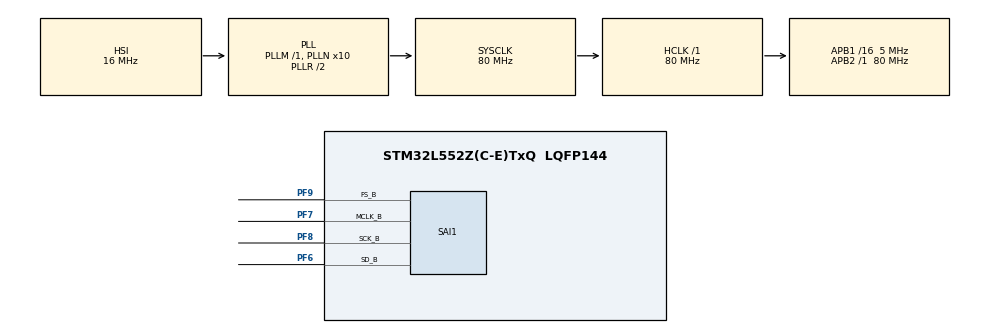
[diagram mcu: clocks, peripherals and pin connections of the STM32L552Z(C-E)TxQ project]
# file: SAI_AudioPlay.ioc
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Dma.Request0=SAI1_B
Dma.SAI1_B.0.Channel_PRIV_NPRIV=DMA_CHANNEL_NPRIV_DISABLE
Dma.SAI1_B.0.Direction=DMA_MEMORY_TO_PERIPH
Dma.SAI1_B.0.EventEnable=DISABLE
Dma.SAI1_B.0.Instance=DMA2_Channel1
Dma.SAI1_B.0.MemDataAlignment=DMA_MDATAALIGN_HALFWORD
Dma.SAI1_B.0.MemInc=DMA_MINC_ENABLE
Dma.SAI1_B.0.Mode=DMA_CIRCULAR
Dma.SAI1_B.0.PeriphDataAlignment=DMA_PDATAALIGN_HALFWORD
Dma.SAI1_B.0.PeriphInc=DMA_PINC_DISABLE
Dma.SAI1_B.0.Polarity=HAL_DMAMUX_REQ_GEN_RISING
Dma.SAI1_B.0.Priority=DMA_PRIORITY_HIGH
Dma.SAI1_B.0.RequestNumber=1
Dma.SAI1_B.0.SignalID=NONE
Dma.SAI1_B.0.SyncEnable=DISABLE
Dma.SAI1_B.0.SyncPolarity=HAL_DMAMUX_SYNC_NO_EVENT
Dma.SAI1_B.0.SyncRequestNumber=1
Dma.SAI1_B.0.SyncSignalID=NONE
Mcu.Family=STM32L5
Mcu.Name=STM32L552Z(C-E)TxQ
Mcu.Package=LQFP144
NVIC.DMA2_Channel1_IRQn=true\:0\:0\:false\:false\:true\:true\:true\:true
NVIC.PriorityGroup=NVIC_PRIORITYGROUP_3
PF6.Mode=SAI_B_MasterWithClock
PF6.Signal=SAI1_SD_B
PF7.Mode=SAI_B_MasterWithClock
PF7.Signal=SAI1_MCLK_B
PF8.Mode=SAI_B_MasterWithClock
PF8.Signal=SAI1_SCK_B
PF9.Mode=SAI_B_MasterWithClock
PF9.Signal=SAI1_FS_B
ProjectManager.HeapSize=0x200
ProjectManager.StackSize=0x400
ProjectManager.TargetToolchain=EWARM V8.32
RCC.ADCCLockSelection=RCC_ADCCLKSOURCE_SYSCLK
RCC.ADCFreq_Value=80000000
RCC.AHBFreq_Value=80000000
RCC.APB1CLKDivider=RCC_HCLK_DIV16
RCC.APB1Freq_Value=5000000
RCC.APB1TimFreq_Value=10000000
RCC.APB2Freq_Value=80000000
RCC.APB2TimFreq_Value=80000000
RCC.CK48CLockSelection=RCC_USBCLKSOURCE_MSI
RCC.CortexFreq_Value=80000000
RCC.DATA_CACHE_ENABLE=0
RCC.HCLKFreq_Value=80000000
RCC.HSE_VALUE=16000000
RCC.HSI48_VALUE=48000000
RCC.HSI_VALUE=16000000
RCC.I2C1CLockSelection=RCC_I2C1CLKSOURCE_SYSCLK
RCC.INSTRUCTION_CACHE_ENABLE=0
RCC.LSE_VALUE=32768
RCC.MSIClockRange=RCC_MSIRANGE_9
RCC.MSI_VALUE=24000000
RCC.PLLN=10
RCC.PLLSAI1M=8
RCC.PLLSAI1N=43
RCC.PLLSourceVirtual=RCC_PLLSOURCE_HSI
RCC.SYSCLKFreq_VALUE=80000000
RCC.SYSCLKSource=RCC_SYSCLKSOURCE_PLLCLK
RCC.USBFreq_Value=24000000
RCC.VCOOutputFreq_Value=160000000
SAI1.ActiveFrameLength-SAI_B_MasterWithClock=16
SAI1.AudioFrequency-SAI_B_MasterWithClock=SAI_AUDIO_FREQUENCY_22K
SAI1.DataSize-SAI_B_MasterWithClock=SAI_DATASIZE_16
SAI1.ErrorAudioFreq-SAI_B_MasterWithClock=63.6 %
SAI1.FrameLength-SAI_B_MasterWithClock=32
SAI1.Instance-SAI_B_MasterWithClock=SAI$Index_Block_B
SAI1.MckOutput-SAI_B_MasterWithClock=SAI_MCK_OUTPUT_ENABLE
SAI1.RealAudioFreq-SAI_B_MasterWithClock=35.993 KHz
SAI1.SlotActive-SAI_B_MasterWithClock=0x00000003
SAI1.SlotNumber-SAI_B_MasterWithClock=2
SAI1.VirtualMode-SAI_B_MasterWithClock=VM_MASTER
SAI1.VirtualSlotActive-SAI_B_MasterWithClock=SAI_SLOT_USERSETTING
SAI1.VirtualSlotActive0-SAI_B_MasterWithClock=true
SAI1.VirtualSlotActive1-SAI_B_MasterWithClock=true
VP_ICACHE_VS_ICACHE.Mode=DirectMappedCache
VP_PWR_VS_DBSignals.Mode=DisableDeadBatterySignals
board=custom

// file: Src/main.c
/* USER CODE BEGIN Header */
/**
  ******************************************************************************
  * @file    SAI/SAI_AudioPlay/Src/stm32l5xx_main.c
  * @author  MCD Application Team
  * @brief   This sample code shows how to use SAI HAL API (SAI instance)
  *          to play an audio file using the DMA circular mode and a
  *          continuous buffer update.
  ******************************************************************************
  * @attention
  *
  * Copyright (c) 2019 STMicroelectronics.
  * All rights reserved.
  *
  * This software is licensed under terms that can be found in the LICENSE file
  * in the root directory of this software component.
  * If no LICENSE file comes with this software, it is provided AS-IS.
  *
  ******************************************************************************
  */
/* USER CODE END Header */
#include "main.h"

/* USER CODE BEGIN Includes */
#include "stm32l552e_eval.h"
#include "stm32l552e_eval_bus.h"
#include "audio.h"
#include "mfxstm32l152.h"
#include "../Components/cs42l51/cs42l51.h"
/* USER CODE END Includes */

/* USER CODE BEGIN PD */
#define AUDIO_I2C_ADDRESS    0x94U
#define AUDIO_FREQUENCY_22K 22050U  /* Audio sample rate */
/* USER CODE END PD */

SAI_HandleTypeDef hsai_BlockB1;
DMA_HandleTypeDef hdma_sai1_b;

/* USER CODE BEGIN PV */
#define AUDIO_FILE_ADDRESS   0x08040000
#define AUDIO_FILE_SIZE      (180*1024)
#define PLAY_HEADER          0x2C
#define PLAY_BUFF_SIZE       4096
#define MFX_IO_EXPANDER_I2C_ADDRESS            0x84U

static void *comp_out_obj= {0};
AUDIO_Drv_t *audio_drv;
CS42L51_IO_t IOCtx;
uint32_t cs42l51_id;
static CS42L51_Object_t CS42L51Obj;
CS42L51_Init_t codec_init;
uint16_t PlayBuff[PLAY_BUFF_SIZE];
__IO int16_t UpdatePointer = -1;
/* USER CODE END PV */

void SystemClock_Config(void);
static void MX_GPIO_Init(void);
static void MX_DMA_Init(void);
static void MX_ICACHE_Init(void);
static void MX_SAI1_Init(void);
/* USER CODE BEGIN PFP */
static void CS42L51_PowerUp(void);
/* USER CODE END PFP */

int main(void)
{
  /* USER CODE BEGIN 1 */
  uint32_t PlaybackPosition = PLAY_BUFF_SIZE + PLAY_HEADER;

  /* STM32L5xx HAL library initialization:
       - Systick timer is configured by default as source of time base, but user
         can eventually implement his proper time base source (a general purpose
         timer for example or other time source), keeping in mind that Time base
         duration should be kept 1ms since PPP_TIMEOUT_VALUEs are defined and
         handled in milliseconds basis.
       - Set NVIC Group Priority to 3
       - Low Level Initialization
     */
  /* USER CODE END 1 */

  /* MCU Configuration--------------------------------------------------------*/

  /* Reset of all peripherals, Initializes the Flash interface and the Systick. */
  HAL_Init();

  /* USER CODE BEGIN Init */
  /* Configure LED4 */
  BSP_LED_Init(LED4);

  /* Configure LED5 */
  BSP_LED_Init(LED5);
  /* USER CODE END Init */

  /* Configure the system clock */
  SystemClock_Config();

  /* Initialize all configured peripherals */
  MX_GPIO_Init();
  MX_DMA_Init();
  MX_ICACHE_Init();
  MX_SAI1_Init();
  /* USER CODE BEGIN 2 */
  CS42L51_PowerUp();
  /* Configure the audio driver */
  IOCtx.Address     = AUDIO_I2C_ADDRESS;
  IOCtx.Init        = BSP_I2C1_Init;
  IOCtx.DeInit      = BSP_I2C1_DeInit;
  IOCtx.ReadReg     = BSP_I2C1_ReadReg;
  IOCtx.WriteReg    = BSP_I2C1_WriteReg;
  IOCtx.GetTick     = BSP_GetTick;
  if (CS42L51_RegisterBusIO(&CS42L51Obj, &IOCtx) != CS42L51_OK)
  {
    Error_Handler();
  }
  else
  {
    if(CS42L51_ReadID(&CS42L51Obj, &cs42l51_id) != CS42L51_OK)
    {
      Error_Handler();
    }
    else if ((cs42l51_id & CS42L51_ID_MASK) != CS42L51_ID)
    {
      Error_Handler();
    }
    /* Reset the Codec Registers */
    else if (CS42L51_Reset(&CS42L51Obj) != CS42L51_OK)
    {
      Error_Handler();
    }
  }

  audio_drv               = (AUDIO_Drv_t *)&CS42L51_Driver;
  comp_out_obj            = &CS42L51Obj;
  codec_init.Resolution   = CS42L51_RESOLUTION_16B;
  codec_init.Frequency    = AUDIO_FREQUENCY_22K;
  codec_init.InputDevice  = CS42L51_IN_NONE;
  codec_init.OutputDevice = CS42L51_OUT_HEADPHONE;
  codec_init.Volume       = 70;
  if(0 != audio_drv->Init(comp_out_obj, &codec_init))
  {
    Error_Handler();
  }

  /* Check if the buffer has been loaded in flash */
  if(*((uint64_t *)AUDIO_FILE_ADDRESS) != 0x017EFE2446464952 ) Error_Handler();

  /* Initialize the data buffer */
  for(int i=0; i < PLAY_BUFF_SIZE; i+=2)
  {
    PlayBuff[i]=*((__IO uint16_t *)(AUDIO_FILE_ADDRESS + PLAY_HEADER + i));
  }

  /* Start the playback */
  if(0 != audio_drv->Play(&CS42L51Obj))
  {
    Error_Handler();
  }

  if(HAL_OK != HAL_SAI_Transmit_DMA(&hsai_BlockB1, (uint8_t *)PlayBuff, PLAY_BUFF_SIZE))
  {
    Error_Handler();
  }
  /* USER CODE END 2 */

  /* Infinite loop */
  /* USER CODE BEGIN WHILE */
  while (1)
  {
    BSP_LED_Toggle(LED4);

    /* Wait a callback event */
    while(UpdatePointer==-1);

    int position = UpdatePointer;
    UpdatePointer = -1;

    /* Update the first or the second part of the buffer */
    for(int i = 0; i < PLAY_BUFF_SIZE/2; i++)
    {
      PlayBuff[i+position] = *(uint16_t *)(AUDIO_FILE_ADDRESS + PlaybackPosition);
      PlaybackPosition+=2;
    }

    /* check the end of the file */
    if((PlaybackPosition+PLAY_BUFF_SIZE/2) > AUDIO_FILE_SIZE)
    {
      PlaybackPosition = PLAY_HEADER;
    }

    if(UpdatePointer != -1)
    {
      /* Buffer update time is too long compare to the data transfer time */
      Error_Handler();
    }
    /* USER CODE END WHILE */

  }
}

void SystemClock_Config(void)
{
  RCC_OscInitTypeDef RCC_OscInitStruct = {0};
  RCC_ClkInitTypeDef RCC_ClkInitStruct = {0};

  /** Configure the main internal regulator output voltage
  */
  if (HAL_PWREx_ControlVoltageScaling(PWR_REGULATOR_VOLTAGE_SCALE1) != HAL_OK)
  {
    Error_Handler();
  }

  /** Initializes the RCC Oscillators according to the specified parameters
  * in the RCC_OscInitTypeDef structure.
  */
  RCC_OscInitStruct.OscillatorType = RCC_OSCILLATORTYPE_HSI|RCC_OSCILLATORTYPE_MSI;
  RCC_OscInitStruct.HSIState = RCC_HSI_ON;
  RCC_OscInitStruct.HSICalibrationValue = RCC_HSICALIBRATION_DEFAULT;
  RCC_OscInitStruct.MSIState = RCC_MSI_ON;
  RCC_OscInitStruct.MSICalibrationValue = RCC_MSICALIBRATION_DEFAULT;
  RCC_OscInitStruct.MSIClockRange = RCC_MSIRANGE_9;
  RCC_OscInitStruct.PLL.PLLState = RCC_PLL_ON;
  RCC_OscInitStruct.PLL.PLLSource = RCC_PLLSOURCE_HSI;
  RCC_OscInitStruct.PLL.PLLM = 1;
  RCC_OscInitStruct.PLL.PLLN = 10;
  RCC_OscInitStruct.PLL.PLLP = RCC_PLLP_DIV7;
  RCC_OscInitStruct.PLL.PLLQ = RCC_PLLQ_DIV2;
  RCC_OscInitStruct.PLL.PLLR = RCC_PLLR_DIV2;
  if (HAL_RCC_OscConfig(&RCC_OscInitStruct) != HAL_OK)
  {
    Error_Handler();
  }

  /** Initializes the CPU, AHB and APB buses clocks
  */
  RCC_ClkInitStruct.ClockType = RCC_CLOCKTYPE_HCLK|RCC_CLOCKTYPE_SYSCLK
                              |RCC_CLOCKTYPE_PCLK1|RCC_CLOCKTYPE_PCLK2;
  RCC_ClkInitStruct.SYSCLKSource = RCC_SYSCLKSOURCE_PLLCLK;
  RCC_ClkInitStruct.AHBCLKDivider = RCC_SYSCLK_DIV1;
  RCC_ClkInitStruct.APB1CLKDivider = RCC_HCLK_DIV16;
  RCC_ClkInitStruct.APB2CLKDivider = RCC_HCLK_DIV1;

  if (HAL_RCC_ClockConfig(&RCC_ClkInitStruct, FLASH_LATENCY_3) != HAL_OK)
  {
    Error_Handler();
  }
}

static void MX_ICACHE_Init(void)
{

  /** Enable instruction cache in 1-way (direct mapped cache)
  */
  if (HAL_ICACHE_ConfigAssociativityMode(ICACHE_1WAY) != HAL_OK)
  {
    Error_Handler();
  }
  if (HAL_ICACHE_Enable() != HAL_OK)
  {
    Error_Handler();
  }

}

static void MX_SAI1_Init(void)
{

  hsai_BlockB1.Instance = SAI1_Block_B;
  hsai_BlockB1.Init.Protocol = SAI_FREE_PROTOCOL;
  hsai_BlockB1.Init.AudioMode = SAI_MODEMASTER_TX;
  hsai_BlockB1.Init.DataSize = SAI_DATASIZE_16;
  hsai_BlockB1.Init.FirstBit = SAI_FIRSTBIT_MSB;
  hsai_BlockB1.Init.ClockStrobing = SAI_CLOCKSTROBING_FALLINGEDGE;
  hsai_BlockB1.Init.Synchro = SAI_ASYNCHRONOUS;
  hsai_BlockB1.Init.OutputDrive = SAI_OUTPUTDRIVE_DISABLE;
  hsai_BlockB1.Init.NoDivider = SAI_MASTERDIVIDER_ENABLE;
  hsai_BlockB1.Init.FIFOThreshold = SAI_FIFOTHRESHOLD_EMPTY;
  hsai_BlockB1.Init.AudioFrequency = SAI_AUDIO_FREQUENCY_22K;
  hsai_BlockB1.Init.SynchroExt = SAI_SYNCEXT_DISABLE;
  hsai_BlockB1.Init.MonoStereoMode = SAI_STEREOMODE;
  hsai_BlockB1.Init.CompandingMode = SAI_NOCOMPANDING;
  hsai_BlockB1.Init.TriState = SAI_OUTPUT_NOTRELEASED;
  hsai_BlockB1.Init.PdmInit.Activation = DISABLE;
  hsai_BlockB1.Init.PdmInit.MicPairsNbr = 1;
  hsai_BlockB1.Init.PdmInit.ClockEnable = SAI_PDM_CLOCK1_ENABLE;
  hsai_BlockB1.FrameInit.FrameLength = 32;
  hsai_BlockB1.FrameInit.ActiveFrameLength = 16;
  hsai_BlockB1.FrameInit.FSDefinition = SAI_FS_STARTFRAME;
  hsai_BlockB1.FrameInit.FSPolarity = SAI_FS_ACTIVE_LOW;
  hsai_BlockB1.FrameInit.FSOffset = SAI_FS_FIRSTBIT;
  hsai_BlockB1.SlotInit.FirstBitOffset = 0;
  hsai_BlockB1.SlotInit.SlotSize = SAI_SLOTSIZE_DATASIZE;
  hsai_BlockB1.SlotInit.SlotNumber = 2;
  hsai_BlockB1.SlotInit.SlotActive = 0x00000003;
  if (HAL_SAI_Init(&hsai_BlockB1) != HAL_OK)
  {
    Error_Handler();
  }

}

static void MX_DMA_Init(void)
{

  /* DMA controller clock enable */
  __HAL_RCC_DMAMUX1_CLK_ENABLE();
  __HAL_RCC_DMA2_CLK_ENABLE();

  /* DMA interrupt init */
  /* DMA2_Channel1_IRQn interrupt configuration */
  HAL_NVIC_SetPriority(DMA2_Channel1_IRQn, 0, 0);
  HAL_NVIC_EnableIRQ(DMA2_Channel1_IRQn);

}

static void MX_GPIO_Init(void)
{

  /* GPIO Ports Clock Enable */
  __HAL_RCC_GPIOF_CLK_ENABLE();

}

/* USER CODE BEGIN 4 */
/**
  * @brief Tx Transfer completed callbacks.
  * @param  hsai : pointer to a SAI_HandleTypeDef structure that contains
  *                the configuration information for SAI module.
  * @retval None
  */
void HAL_SAI_TxCpltCallback(SAI_HandleTypeDef *hsai)
{
  /* NOTE : This function Should not be modified, when the callback is needed,
            the HAL_SAI_TxCpltCallback could be implemented in the user file
   */
  UpdatePointer = PLAY_BUFF_SIZE/2;
}

/**
  * @brief Tx Transfer Half completed callbacks
  * @param  hsai : pointer to a SAI_HandleTypeDef structure that contains
  *                the configuration information for SAI module.
  * @retval None
  */
void HAL_SAI_TxHalfCpltCallback(SAI_HandleTypeDef *hsai)
{
  /* NOTE : This function Should not be modified, when the callback is needed,
            the HAL_SAI_TxHalfCpltCallback could be implenetd in the user file
   */
  UpdatePointer = 0;
}

/**
  * @brief CODEC Activation Function
  * @param None
  * @retval None
  */
static void CS42L51_PowerUp(void)
{
  MFXSTM32L152_Object_t   MFXSTM32L152Obj = {0};
  MFXSTM32L152_IO_Init_t  MFX_IO_Init= {0};
  MFXSTM32L152_IO_t       MFX_IOCtx;
  uint32_t                mfxstm32l152_id;
  /* Configure the MFX_IO_EXPANDER driver */
  MFX_IOCtx.Init        = BSP_I2C1_Init;
  MFX_IOCtx.DeInit      = BSP_I2C1_DeInit;
  MFX_IOCtx.ReadReg     = BSP_I2C1_ReadReg;
  MFX_IOCtx.WriteReg    = BSP_I2C1_WriteReg;
  MFX_IOCtx.GetTick     = BSP_GetTick;
  MFX_IOCtx.Address     = 0x84U;

  if (MFXSTM32L152_RegisterBusIO(&MFXSTM32L152Obj, &MFX_IOCtx) != MFXSTM32L152_OK)
  {
    Error_Handler();
  }
  else if (MFXSTM32L152_ReadID(&MFXSTM32L152Obj, &mfxstm32l152_id) != MFXSTM32L152_OK)
  {
    Error_Handler();
  }
  else
  {
    if ((mfxstm32l152_id == MFXSTM32L152_ID) || (mfxstm32l152_id == MFXSTM32L152_ID_2))
    {
      if (MFXSTM32L152_Init(&MFXSTM32L152Obj) != MFXSTM32L152_OK)
      {
        Error_Handler();
      }
    }

  }

  if (MFXSTM32L152_IO_Start(& MFXSTM32L152Obj,MFXSTM32L152_GPIO_PIN_15) != MFXSTM32L152_OK)
  {
    Error_Handler();
  }

  MFX_IO_Init.Pin  = MFXSTM32L152_GPIO_PIN_15;
  MFX_IO_Init.Mode = MFXSTM32L152_GPIO_MODE_OUTPUT_PP;
  MFX_IO_Init.Pull = MFXSTM32L152_GPIO_PULLDOWN;
  if (MFXSTM32L152_IO_Init(& MFXSTM32L152Obj, & MFX_IO_Init)!= MFXSTM32L152_OK)
  {
   Error_Handler();
  }
  else
  {
    /* Un-reset the CS42L51 */
    MFXSTM32L152_IO_WritePin(&MFXSTM32L152Obj, MFXSTM32L152_GPIO_PIN_15, 1U);
  }

  /* Wait 1ms according CS42L51 datasheet */
  HAL_Delay(1);
}

/* USER CODE END 4 */

void Error_Handler(void)
{
  /* USER CODE BEGIN Error_Handler_Debug */
  /* User can add his own implementation to report the HAL error return state */
  /* LED5 On in error case */
  BSP_LED_On(LED5);
  while(1)
  {
  }

  /* USER CODE END Error_Handler_Debug */
}

#ifdef  USE_FULL_ASSERT
/**
  * @brief  Reports the name of the source file and the source line number
  *         where the assert_param error has occurred.
  * @param  file: pointer to the source file name
  * @param  line: assert_param error line source number
  * @retval None
  */
void assert_failed(uint8_t *file, uint32_t line)
{
  /* USER CODE BEGIN 6 */
  /* User can add his own implementation to report the file name and line number,
     ex: printf("Wrong parameters value: file %s on line %d\r\n", file, line) */
  /* Infinite loop */
  while (1)
  {}
  /* USER CODE END 6 */
}
#endif /* USE_FULL_ASSERT */
